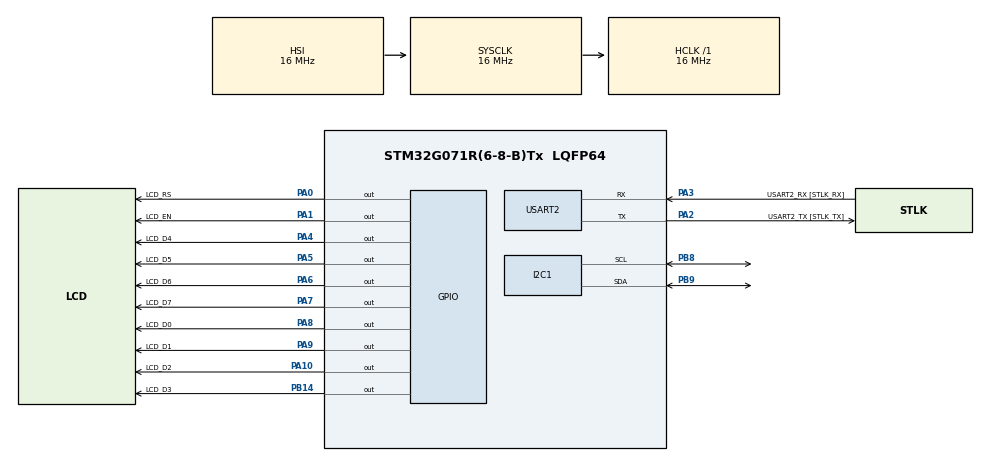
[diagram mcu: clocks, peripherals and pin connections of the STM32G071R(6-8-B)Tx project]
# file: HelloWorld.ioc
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Mcu.Family=STM32G0
Mcu.Name=STM32G071R(6-8-B)Tx
Mcu.Package=LQFP64
PA0.GPIO_Label=LCD_RS
PA0.Signal=GPIO_Output
PA1.GPIO_Label=LCD_EN
PA1.Signal=GPIO_Output
PA10.GPIO_Label=LCD_D2
PA10.Signal=GPIO_Output
PA13.GPIO_Label=TMS
PA13.Mode=Serial_Wire
PA13.Signal=SYS_SWDIO
PA14-BOOT0.GPIO_Label=TCK
PA14-BOOT0.Mode=Serial_Wire
PA14-BOOT0.Signal=SYS_SWCLK
PA2.GPIO_Label=USART2_TX [STLK_TX]
PA2.GPIO_PuPd=GPIO_PULLUP
PA2.Mode=Asynchronous
PA2.Signal=USART2_TX
PA3.GPIO_Label=USART2_RX [STLK_RX]
PA3.GPIO_PuPd=GPIO_PULLUP
PA3.Mode=Asynchronous
PA3.Signal=USART2_RX
PA4.GPIO_Label=LCD_D4
PA4.Signal=GPIO_Output
PA5.GPIO_Label=LCD_D5
PA5.GPIO_Speed=GPIO_SPEED_FREQ_HIGH
PA5.Signal=GPIO_Output
PA6.GPIO_Label=LCD_D6
PA6.Signal=GPIO_Output
PA7.GPIO_Label=LCD_D7
PA7.Signal=GPIO_Output
PA8.GPIO_Label=LCD_D0
PA8.Signal=GPIO_Output
PA9.GPIO_Label=LCD_D1
PA9.Signal=GPIO_Output
PB14.GPIO_Label=LCD_D3
PB14.Signal=GPIO_Output
PB8.Mode=I2C
PB8.Signal=I2C1_SCL
PB9.Mode=I2C
PB9.Signal=I2C1_SDA
PC13.Mode=SYS_WakeUp1
PC13.Signal=SYS_WKUP2
PC14-OSC32_IN\ (PC14).Mode=LSE-External-Oscillator
PC14-OSC32_IN\ (PC14).Signal=RCC_OSC32_IN
PC15-OSC32_OUT\ (PC15).Mode=LSE-External-Oscillator
PC15-OSC32_OUT\ (PC15).Signal=RCC_OSC32_OUT
PF0-OSC_IN\ (PF0).GPIO_Label=MCO
PF0-OSC_IN\ (PF0).Mode=HSE-External-Clock-Source
PF0-OSC_IN\ (PF0).Signal=RCC_OSC_IN
ProjectManager.HeapSize=0x200
ProjectManager.StackSize=0x400
ProjectManager.TargetToolchain=STM32CubeIDE
RCC.AHBFreq_Value=16000000
RCC.CortexFreq_Value=16000000
RCC.EXTERNAL_CLOCK_VALUE=12288000
RCC.HCLKFreq_Value=16000000
RCC.HSE_VALUE=8000000
RCC.HSI_VALUE=16000000
RCC.SYSCLKFreq_VALUE=16000000
RCC.VCOOutputFreq_Value=128000000
USART2.VirtualMode-Asynchronous=VM_ASYNC
board=NUCLEO-G071RB

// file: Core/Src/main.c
/* USER CODE BEGIN Header */
/**
  ******************************************************************************
  * @file           : main.c
  * @brief          : Main program body
  ******************************************************************************
  * @attention
  *
  * Copyright (c) 2023 STMicroelectronics.
  * All rights reserved.
  *
  * This software is licensed under terms that can be found in the LICENSE file
  * in the root directory of this software component.
  * If no LICENSE file comes with this software, it is provided AS-IS.
  *
  ******************************************************************************
  */
/* USER CODE END Header */
#include "main.h"

/* USER CODE BEGIN Includes */
#include "string.h"
#include "HD44780_LCD.h"
/* USER CODE END Includes */

I2C_HandleTypeDef hi2c1;

UART_HandleTypeDef huart2;

void SystemClock_Config(void);
static void MX_GPIO_Init(void);
static void MX_USART2_UART_Init(void);
static void MX_I2C1_Init(void);

int main(void)
{

  /* MCU Configuration--------------------------------------------------------*/

  /* Reset of all peripherals, Initializes the Flash interface and the Systick. */
  HAL_Init();

  /* Configure the system clock */
  SystemClock_Config();

  /* Initialize all configured peripherals */
  MX_GPIO_Init();
  MX_USART2_UART_Init();
  MX_I2C1_Init();
  /* USER CODE BEGIN 2 */

  // instantiate the LCD structure and create a buffer to hold the message to display
  HD44780_LCD_t lcd;
  const char msg[] = "Hello World!";
  const uint32_t msglen = strlen(msg);

  // The LCD can be used in one of 4 modes, and the initialization of the structure depends upon which one is used
  // snippets are shown below for all 4 modes; un-comment the one to use
  // for more information, including wiring diagrams, refer to the README.md files

  // This initializes the structure to use the LCD in 4-bit mode (utilize half of the 8-bit bus)
  LCD_createHalfBus(&lcd, LCD_D4_GPIO_Port, LCD_D4_Pin, LCD_D5_GPIO_Port, LCD_D5_Pin, LCD_D6_GPIO_Port, LCD_D6_Pin, LCD_D7_GPIO_Port, LCD_D7_Pin, LCD_EN_GPIO_Port, LCD_EN_Pin, LCD_RS_GPIO_Port, LCD_RS_Pin);

  // This initializes the structure to use the LCD in 8-bit mode (utilize the complete 8-bit bus)
  // LCD_createFullBus(&lcd, LCD_D0_GPIO_Port, LCD_D0_Pin, LCD_D1_GPIO_Port, LCD_D1_Pin, LCD_D2_GPIO_Port, LCD_D2_Pin, LCD_D3_GPIO_Port, LCD_D3_Pin, LCD_D4_GPIO_Port, LCD_D4_Pin, LCD_D5_GPIO_Port, LCD_D5_Pin, LCD_D6_GPIO_Port, LCD_D6_Pin, LCD_D7_GPIO_Port, LCD_D7_Pin, LCD_EN_GPIO_Port, LCD_EN_Pin, LCD_RS_GPIO_Port, LCD_RS_Pin);

  // This initializes the structure to use the LCD in 8-bit mode along with a shift register
  // The D0 Pin is used as a Data Pin for the shift register
  // The D1 Pin is used as a Clock Pin for the shift register
  // The D2 Pin is used as a Latch Pin for the shift register
  // LCD_createShiftRegister(&lcd, LCD_D0_GPIO_Port, LCD_D0_Pin, LCD_D1_GPIO_Port, LCD_D1_Pin, LCD_D2_GPIO_Port, LCD_D2_Pin, LCD_EN_GPIO_Port, LCD_EN_Pin, LCD_RS_GPIO_Port, LCD_RS_Pin);

  // This initializes the structure to use the LCD in 4-bit mode along with a PC8574 I2C IO Expander
  // LCD_createI2C(&lcd, &hi2c1);

  // Initialize the LCD hardware based on the settings provided to the structure
  LCD_init(&lcd);

  // print "Hello World!" to the LCD (the cursor starts at the top-left, i.e. position 0, 0)
  LCD_sendBuffer(&lcd, (uint8_t *)msg, msglen);

  /* USER CODE END 2 */

  /* Infinite loop */
  /* USER CODE BEGIN WHILE */
  while (1)
  {
	  // initially, the underscore cursor should be enabled while the blinking cursor should be disabled
	  // when the loop starts, it is toggled so that the blinking cursor is displayed before the underscore cursor
	  LCD_enableCursor(&lcd);
	  LCD_disableBlinkingCursor(&lcd);

	  // move the cursor from the start of the second line to the end, and toggle the cursor used everytime it moves forward
	  // because the reverse loop starts from position 15, this loop ends at position 14
	  for (uint32_t i = 0; i < 15; ++i) {
		  LCD_toggleCursor(&lcd);
		  LCD_toggleBlinkingCursor(&lcd);
		  // use 1 for the row number because 0 based indexing is used
		  LCD_setCursorPos(&lcd, 1, i);
		  HAL_Delay(1000);
	  }

	  // move the cursor back from the end of the second line to the start, and toggle the cursor used everytime it moves backward
	  // because the forward loop starts from position 0, this loop ends at position 1
	  for (uint32_t i = 15; i > 0; --i) {
		  LCD_toggleCursor(&lcd);
		  LCD_toggleBlinkingCursor(&lcd);
		  // use 1 for the row number because 0 based indexing is used
		  LCD_setCursorPos(&lcd, 1, i);
		  HAL_Delay(1000);
	  }

    /* USER CODE END WHILE */

  }
}

void SystemClock_Config(void)
{
  RCC_OscInitTypeDef RCC_OscInitStruct = {0};
  RCC_ClkInitTypeDef RCC_ClkInitStruct = {0};

  /** Configure the main internal regulator output voltage
  */
  HAL_PWREx_ControlVoltageScaling(PWR_REGULATOR_VOLTAGE_SCALE1);

  /** Initializes the RCC Oscillators according to the specified parameters
  * in the RCC_OscInitTypeDef structure.
  */
  RCC_OscInitStruct.OscillatorType = RCC_OSCILLATORTYPE_HSI;
  RCC_OscInitStruct.HSIState = RCC_HSI_ON;
  RCC_OscInitStruct.HSIDiv = RCC_HSI_DIV1;
  RCC_OscInitStruct.HSICalibrationValue = RCC_HSICALIBRATION_DEFAULT;
  RCC_OscInitStruct.PLL.PLLState = RCC_PLL_NONE;
  if (HAL_RCC_OscConfig(&RCC_OscInitStruct) != HAL_OK)
  {
    Error_Handler();
  }

  /** Initializes the CPU, AHB and APB buses clocks
  */
  RCC_ClkInitStruct.ClockType = RCC_CLOCKTYPE_HCLK|RCC_CLOCKTYPE_SYSCLK
                              |RCC_CLOCKTYPE_PCLK1;
  RCC_ClkInitStruct.SYSCLKSource = RCC_SYSCLKSOURCE_HSI;
  RCC_ClkInitStruct.AHBCLKDivider = RCC_SYSCLK_DIV1;
  RCC_ClkInitStruct.APB1CLKDivider = RCC_HCLK_DIV1;

  if (HAL_RCC_ClockConfig(&RCC_ClkInitStruct, FLASH_LATENCY_0) != HAL_OK)
  {
    Error_Handler();
  }
}

static void MX_I2C1_Init(void)
{

  hi2c1.Instance = I2C1;
  hi2c1.Init.Timing = 0x00303D5B;
  hi2c1.Init.OwnAddress1 = 0;
  hi2c1.Init.AddressingMode = I2C_ADDRESSINGMODE_7BIT;
  hi2c1.Init.DualAddressMode = I2C_DUALADDRESS_DISABLE;
  hi2c1.Init.OwnAddress2 = 0;
  hi2c1.Init.OwnAddress2Masks = I2C_OA2_NOMASK;
  hi2c1.Init.GeneralCallMode = I2C_GENERALCALL_DISABLE;
  hi2c1.Init.NoStretchMode = I2C_NOSTRETCH_DISABLE;
  if (HAL_I2C_Init(&hi2c1) != HAL_OK)
  {
    Error_Handler();
  }

  /** Configure Analogue filter
  */
  if (HAL_I2CEx_ConfigAnalogFilter(&hi2c1, I2C_ANALOGFILTER_ENABLE) != HAL_OK)
  {
    Error_Handler();
  }

  /** Configure Digital filter
  */
  if (HAL_I2CEx_ConfigDigitalFilter(&hi2c1, 0) != HAL_OK)
  {
    Error_Handler();
  }

}

static void MX_USART2_UART_Init(void)
{

  huart2.Instance = USART2;
  huart2.Init.BaudRate = 115200;
  huart2.Init.WordLength = UART_WORDLENGTH_8B;
  huart2.Init.StopBits = UART_STOPBITS_1;
  huart2.Init.Parity = UART_PARITY_NONE;
  huart2.Init.Mode = UART_MODE_TX_RX;
  huart2.Init.HwFlowCtl = UART_HWCONTROL_NONE;
  huart2.Init.OverSampling = UART_OVERSAMPLING_16;
  huart2.Init.OneBitSampling = UART_ONE_BIT_SAMPLE_DISABLE;
  huart2.Init.ClockPrescaler = UART_PRESCALER_DIV1;
  huart2.AdvancedInit.AdvFeatureInit = UART_ADVFEATURE_NO_INIT;
  if (HAL_UART_Init(&huart2) != HAL_OK)
  {
    Error_Handler();
  }
  if (HAL_UARTEx_SetTxFifoThreshold(&huart2, UART_TXFIFO_THRESHOLD_1_8) != HAL_OK)
  {
    Error_Handler();
  }
  if (HAL_UARTEx_SetRxFifoThreshold(&huart2, UART_RXFIFO_THRESHOLD_1_8) != HAL_OK)
  {
    Error_Handler();
  }
  if (HAL_UARTEx_DisableFifoMode(&huart2) != HAL_OK)
  {
    Error_Handler();
  }

}

static void MX_GPIO_Init(void)
{
  GPIO_InitTypeDef GPIO_InitStruct = {0};

  /* GPIO Ports Clock Enable */
  __HAL_RCC_GPIOC_CLK_ENABLE();
  __HAL_RCC_GPIOF_CLK_ENABLE();
  __HAL_RCC_GPIOA_CLK_ENABLE();
  __HAL_RCC_GPIOB_CLK_ENABLE();

  /*Configure GPIO pin Output Level */
  HAL_GPIO_WritePin(GPIOA, LCD_RS_Pin|LCD_EN_Pin|LCD_D4_Pin|LCD_D5_Pin
                          |LCD_D6_Pin|LCD_D7_Pin|LCD_D0_Pin|LCD_D1_Pin
                          |LCD_D2_Pin, GPIO_PIN_RESET);

  /*Configure GPIO pin Output Level */
  HAL_GPIO_WritePin(LCD_D3_GPIO_Port, LCD_D3_Pin, GPIO_PIN_RESET);

  /*Configure GPIO pins : LCD_RS_Pin LCD_EN_Pin LCD_D4_Pin LCD_D6_Pin
                           LCD_D7_Pin LCD_D0_Pin LCD_D1_Pin LCD_D2_Pin */
  GPIO_InitStruct.Pin = LCD_RS_Pin|LCD_EN_Pin|LCD_D4_Pin|LCD_D6_Pin
                          |LCD_D7_Pin|LCD_D0_Pin|LCD_D1_Pin|LCD_D2_Pin;
  GPIO_InitStruct.Mode = GPIO_MODE_OUTPUT_PP;
  GPIO_InitStruct.Pull = GPIO_NOPULL;
  GPIO_InitStruct.Speed = GPIO_SPEED_FREQ_LOW;
  HAL_GPIO_Init(GPIOA, &GPIO_InitStruct);

  /*Configure GPIO pin : LCD_D5_Pin */
  GPIO_InitStruct.Pin = LCD_D5_Pin;
  GPIO_InitStruct.Mode = GPIO_MODE_OUTPUT_PP;
  GPIO_InitStruct.Pull = GPIO_NOPULL;
  GPIO_InitStruct.Speed = GPIO_SPEED_FREQ_HIGH;
  HAL_GPIO_Init(LCD_D5_GPIO_Port, &GPIO_InitStruct);

  /*Configure GPIO pin : LCD_D3_Pin */
  GPIO_InitStruct.Pin = LCD_D3_Pin;
  GPIO_InitStruct.Mode = GPIO_MODE_OUTPUT_PP;
  GPIO_InitStruct.Pull = GPIO_NOPULL;
  GPIO_InitStruct.Speed = GPIO_SPEED_FREQ_LOW;
  HAL_GPIO_Init(LCD_D3_GPIO_Port, &GPIO_InitStruct);

}

void Error_Handler(void)
{
  __disable_irq();
  while (1)
  {
  }
}
